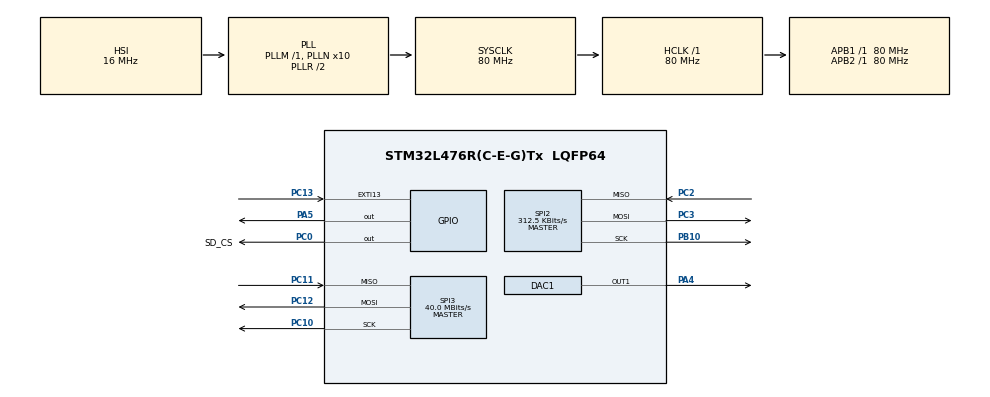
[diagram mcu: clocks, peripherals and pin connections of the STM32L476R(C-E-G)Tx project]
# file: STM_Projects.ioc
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DAC1.DAC_Trigger-DAC_OUT1=DAC_TRIGGER_T6_TRGO
Dma.DAC_CH1.0.Direction=DMA_MEMORY_TO_PERIPH
Dma.DAC_CH1.0.Instance=DMA1_Channel3
Dma.DAC_CH1.0.MemDataAlignment=DMA_MDATAALIGN_HALFWORD
Dma.DAC_CH1.0.MemInc=DMA_MINC_ENABLE
Dma.DAC_CH1.0.Mode=DMA_CIRCULAR
Dma.DAC_CH1.0.PeriphDataAlignment=DMA_PDATAALIGN_HALFWORD
Dma.DAC_CH1.0.PeriphInc=DMA_PINC_DISABLE
Dma.DAC_CH1.0.Priority=DMA_PRIORITY_HIGH
Dma.Request0=DAC_CH1
Mcu.Family=STM32L4
Mcu.Name=STM32L476R(C-E-G)Tx
Mcu.Package=LQFP64
NUCLEO-L476RG.BUTTON=1
NUCLEO-L476RG.Bsp_Common_DEMO=true
NUCLEO-L476RG.LD2=true
NVIC.DMA1_Channel3_IRQn=true\:0\:0\:false\:false\:true\:false\:true\:true
NVIC.EXTI15_10_IRQn=true\:0\:0\:false\:false\:true\:false\:true\:true
NVIC.PriorityGroup=NVIC_PRIORITYGROUP_4
NVIC.TIM6_DAC_IRQn=true\:15\:0\:false\:false\:true\:false\:true\:true
PA13\ (JTMS-SWDIO).GPIO_Label=TMS
PA13\ (JTMS-SWDIO).Mode=Trace_Asynchronous_SW
PA13\ (JTMS-SWDIO).Signal=SYS_JTMS-SWDIO
PA14\ (JTCK-SWCLK).GPIO_Label=TCK
PA14\ (JTCK-SWCLK).Mode=Trace_Asynchronous_SW
PA14\ (JTCK-SWCLK).Signal=SYS_JTCK-SWCLK
PA2.GPIO_Label=USART_TX
PA2.GPIO_Mode=GPIO_MODE_AF_PP
PA2.GPIO_PuPd=GPIO_NOPULL
PA2.GPIO_Speed=GPIO_SPEED_FREQ_VERY_HIGH
PA2.Signal=USART2_TX
PA3.GPIO_Label=USART_RX
PA3.GPIO_Mode=GPIO_MODE_AF_PP
PA3.GPIO_PuPd=GPIO_NOPULL
PA3.GPIO_Speed=GPIO_SPEED_FREQ_VERY_HIGH
PA3.Signal=USART2_RX
PA4.Signal=COMP_DAC11_group
PA5.Signal=GPIO_Output
PB10.Mode=Full_Duplex_Master
PB10.Signal=SPI2_SCK
PB3\ (JTDO-TRACESWO).GPIO_Label=SWO
PB3\ (JTDO-TRACESWO).Mode=Trace_Asynchronous_SW
PB3\ (JTDO-TRACESWO).Signal=SYS_JTDO-SWO
PC0.GPIO_Label=SD_CS
PC0.PinState=GPIO_PIN_SET
PC0.Signal=GPIO_Output
PC10.Mode=Full_Duplex_Master
PC10.Signal=SPI3_SCK
PC11.Mode=Full_Duplex_Master
PC11.Signal=SPI3_MISO
PC12.Mode=Full_Duplex_Master
PC12.Signal=SPI3_MOSI
PC13.Signal=GPXTI13
PC14-OSC32_IN\ (PC14).Signal=RCC_OSC32_IN
PC15-OSC32_OUT\ (PC15).Signal=RCC_OSC32_OUT
PC2.Mode=Full_Duplex_Master
PC2.Signal=SPI2_MISO
PC3.Mode=Full_Duplex_Master
PC3.Signal=SPI2_MOSI
PH0-OSC_IN\ (PH0).Signal=RCC_OSC_IN
PH1-OSC_OUT\ (PH1).Signal=RCC_OSC_OUT
ProjectManager.HeapSize=0x200
ProjectManager.StackSize=0x400
ProjectManager.TargetToolchain=STM32CubeIDE
RCC.ADCFreq_Value=64000000
RCC.AHBFreq_Value=80000000
RCC.APB1Freq_Value=80000000
RCC.APB1TimFreq_Value=80000000
RCC.APB2Freq_Value=80000000
RCC.APB2TimFreq_Value=80000000
RCC.CortexFreq_Value=80000000
RCC.HCLKFreq_Value=80000000
RCC.HSE_VALUE=8000000
RCC.HSI_VALUE=16000000
RCC.LSE_VALUE=32768
RCC.MSI_VALUE=4000000
RCC.PLLN=10
RCC.PLLSourceVirtual=RCC_PLLSOURCE_HSI
RCC.PREFETCH_ENABLE=1
RCC.SYSCLKFreq_VALUE=80000000
RCC.SYSCLKSource=RCC_SYSCLKSOURCE_PLLCLK
RCC.USBFreq_Value=64000000
RCC.VCOOutputFreq_Value=160000000
SH.COMP_DAC11_group.0=DAC1_OUT1,DAC_OUT1
SPI2.BaudRatePrescaler=SPI_BAUDRATEPRESCALER_256
SPI2.CalculateBaudRate=312.5 KBits/s
SPI2.DataSize=SPI_DATASIZE_8BIT
SPI2.Direction=SPI_DIRECTION_2LINES
SPI2.Mode=SPI_MODE_MASTER
SPI2.NSSPMode=SPI_NSS_PULSE_DISABLE
SPI2.VirtualType=VM_MASTER
SPI3.CalculateBaudRate=40.0 MBits/s
SPI3.Direction=SPI_DIRECTION_2LINES
SPI3.Mode=SPI_MODE_MASTER
SPI3.VirtualType=VM_MASTER
TIM6.Period=1813
TIM6.TIM_MasterOutputTrigger=TIM_TRGO_UPDATE
VP_FATFS_VS_Generic.Mode=User_defined
VP_NUCLEO-L476RG_VS_BSP_COMMON.Mode=COMMON
VP_TIM6_VS_ClockSourceINT.Mode=Enable_Timer
board=NUCLEO-L476RG

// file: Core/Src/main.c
/* USER CODE BEGIN Header */
/**
  ******************************************************************************
  * @file           : main.c
  * @brief          : Main program body
  ******************************************************************************
  * @attention
  *
  * Copyright (c) 2026 STMicroelectronics.
  * All rights reserved.
  *
  * This software is licensed under terms that can be found in the LICENSE file
  * in the root directory of this software component.
  * If no LICENSE file comes with this software, it is provided AS-IS.
  *
  ******************************************************************************
  */
/* USER CODE END Header */
#include "main.h"
#include "fatfs.h"
#include "user_diskio.h"
#include <string.h>

/* USER CODE BEGIN Includes */
volatile DSTATUS sd_status;
/* USER CODE END Includes */

/* Button state */
#define BUTTON_RELEASED                    0U
#define BUTTON_PRESSED                     1U
/* USER CODE BEGIN PM */
#define AUDIO_READ_SIZE 4096
#define DAC_BUFFER_SIZE 1024

/* USER CODE END PM */

__IO uint32_t BspButtonState = BUTTON_RELEASED;
DAC_HandleTypeDef hdac1;
DMA_HandleTypeDef hdma_dac_ch1;

SPI_HandleTypeDef hspi2;
SPI_HandleTypeDef hspi3;

TIM_HandleTypeDef htim6;

void SystemClock_Config(void);
static void MX_GPIO_Init(void);
static void MX_DMA_Init(void);
static void MX_DAC1_Init(void);
static void MX_SPI2_Init(void);
static void MX_SPI3_Init(void);
static void MX_TIM6_Init(void);

/* USER CODE BEGIN 0 */
/*
static uint16_t read_u16_le(const BYTE *p)
{
    return (uint16_t)p[0] |
           ((uint16_t)p[1] << 8);
}

static uint32_t read_u32_le(const BYTE *p)
{
    return (uint32_t)p[0] |
           ((uint32_t)p[1] << 8) |
           ((uint32_t)p[2] << 16) |
           ((uint32_t)p[3] << 24);
}
*/

static void ITM_SendString(const char *str)
{
    while (*str)
    {
        ITM_SendChar(*str++);
    }
}

static void ITM_SendUint32(uint32_t value)
{
    char digits[10];
    int i = 0;

    if (value == 0)
    {
        ITM_SendChar('0');
        return;
    }

    while (value > 0)
    {
        digits[i++] = '0' + (value % 10);
        value /= 10;
    }

    while (i > 0)
    {
        ITM_SendChar(digits[--i]);
    }
}

static void SD_SetFastSPI(void)
{
    HAL_SPI_DeInit(&hspi2);

    hspi2.Init.BaudRatePrescaler = SPI_BAUDRATEPRESCALER_8;

    if (HAL_SPI_Init(&hspi2) != HAL_OK)
    {
        Error_Handler();
    }
}

typedef struct
{
    uint16_t audio_format;
    uint16_t num_channels;
    uint32_t sample_rate;
    uint32_t byte_rate;
    uint16_t block_align;
    uint16_t bits_per_sample;
    uint32_t data_size;
    uint32_t data_offset;
} WAV_Info;

static FRESULT WAV_ParseHeader(FIL *file, WAV_Info *wav)
{
    uint8_t header[44];
    UINT bytes_read;

    FRESULT result;

    result = f_read(file, header, sizeof(header), &bytes_read);

    if (result != FR_OK)
    {
        return result;
    }

    if (bytes_read != sizeof(header))
    {
        return FR_INT_ERR;
    }

    if (memcmp(&header[0], "RIFF", 4) != 0)
    {
        return FR_INT_ERR;
    }

    if (memcmp(&header[8], "WAVE", 4) != 0)
    {
        return FR_INT_ERR;
    }

    if (memcmp(&header[12], "fmt ", 4) != 0)
    {
        return FR_INT_ERR;
    }

    if (memcmp(&header[36], "data", 4) != 0)
    {
        return FR_INT_ERR;
    }

    wav->audio_format =
        header[20] |
        (header[21] << 8);

    wav->num_channels =
        header[22] |
        (header[23] << 8);

    wav->sample_rate =
        header[24] |
        (header[25] << 8) |
        (header[26] << 16) |
        (header[27] << 24);

    wav->byte_rate =
        header[28] |
        (header[29] << 8) |
        (header[30] << 16) |
        (header[31] << 24);

    wav->block_align =
        header[32] |
        (header[33] << 8);

    wav->bits_per_sample =
        header[34] |
        (header[35] << 8);

    wav->data_size =
        header[40] |
        (header[41] << 8) |
        (header[42] << 16) |
        (header[43] << 24);

    wav->data_offset = 44;

    return FR_OK;
}

uint8_t audio_read_buffer[AUDIO_READ_SIZE];
uint16_t dac_buffer[DAC_BUFFER_SIZE];

static uint32_t PCM_To_DAC(
    const uint8_t *pcm,
    uint32_t pcm_bytes,
    uint16_t *dac_buffer)
{
    uint32_t num_frames = pcm_bytes / 4;

    for (uint32_t i = 0; i < num_frames; i++)
    {
        int16_t left =
            (int16_t)(
                pcm[i * 4] |
                (pcm[i * 4 + 1] << 8)
            );

        dac_buffer[i] =
            ((int32_t)left + 32768) >> 4;
    }

    return num_frames;
}
/* USER CODE END 0 */

int main(void)
{

  /* MCU Configuration--------------------------------------------------------*/

  /* Reset of all peripherals, Initializes the Flash interface and the Systick. */
  HAL_Init();

  /* Configure the system clock */
  SystemClock_Config();

  /* Initialize all configured peripherals */
  MX_GPIO_Init();
  MX_DMA_Init();
  MX_DAC1_Init();
  MX_SPI2_Init();
  MX_SPI3_Init();
  MX_FATFS_Init();
  MX_TIM6_Init();
  /* USER CODE BEGIN 2 */

  sd_status = USER_initialize(0);

  if (sd_status == 0)
  {
      SD_SetFastSPI();
  }

  ITM_SendString("SD stage: ");
  ITM_SendUint32(sd_debug_stage);
  ITM_SendString(" response: ");
  ITM_SendUint32(sd_debug_response);
  ITM_SendChar('\n');

  ITM_SendChar('S');
  ITM_SendChar('D');
  ITM_SendChar(':');
  ITM_SendChar(' ');

  const char hex[] = "0123456789ABCDEF";

  ITM_SendChar(hex[(sd_status >> 4) & 0x0F]);
  ITM_SendChar(hex[sd_status & 0x0F]);

  ITM_SendChar('\r');
  ITM_SendChar('\n');

  FRESULT result;

  result = f_mount(&USERFatFS, USERPath, 1);

  ITM_SendChar('M');
  ITM_SendChar('O');
  ITM_SendChar('U');
  ITM_SendChar('N');
  ITM_SendChar('T');
  ITM_SendChar(':');
  ITM_SendChar(' ');

  ITM_SendChar(hex[(result >> 4) & 0x0F]);
  ITM_SendChar(hex[result & 0x0F]);

  ITM_SendChar('\r');
  ITM_SendChar('\n');

  BYTE buffer[512];
  DRESULT read_result;

  read_result = USER_read(0, buffer, 0, 1);

  ITM_SendChar('R');
  ITM_SendChar('E');
  ITM_SendChar('A');
  ITM_SendChar('D');
  ITM_SendChar(':');
  ITM_SendChar(' ');

  ITM_SendChar(hex[(read_result >> 4) & 0x0F]);
  ITM_SendChar(hex[read_result & 0x0F]);

  ITM_SendChar('\r');
  ITM_SendChar('\n');

  ITM_SendChar('S');
  ITM_SendChar('0');
  ITM_SendChar(':');
  ITM_SendChar(' ');

  for (int i = 0; i < 16; i++)
  {
      ITM_SendChar(hex[(buffer[i] >> 4) & 0x0F]);
      ITM_SendChar(hex[buffer[i] & 0x0F]);
      ITM_SendChar(' ');
  }

  ITM_SendChar('\r');
  ITM_SendChar('\n');

  ITM_SendChar('5');
  ITM_SendChar('1');
  ITM_SendChar('0');
  ITM_SendChar(':');
  ITM_SendChar(' ');

  ITM_SendChar(hex[(buffer[510] >> 4) & 0x0F]);
  ITM_SendChar(hex[buffer[510] & 0x0F]);
  ITM_SendChar(' ');

  ITM_SendChar(hex[(buffer[511] >> 4) & 0x0F]);
  ITM_SendChar(hex[buffer[511] & 0x0F]);

  ITM_SendChar('\r');
  ITM_SendChar('\n');

  ITM_SendChar('P');
  ITM_SendChar('1');
  ITM_SendChar(':');
  ITM_SendChar(' ');

  for (int i = 446; i < 462; i++)
  {
      ITM_SendChar(hex[(buffer[i] >> 4) & 0x0F]);
      ITM_SendChar(hex[buffer[i] & 0x0F]);
      ITM_SendChar(' ');
  }

  ITM_SendChar('\r');
  ITM_SendChar('\n');

  FIL file;
  UINT bytes_read2;

  result = f_open(&file, "0:/test.txt", FA_READ);

  if (result == FR_OK)
  {
      result = f_read(&file, (void *)buffer, sizeof(buffer) - 1, &bytes_read2);

      if (result == FR_OK)
      {
          buffer[bytes_read2] = '\0';

          for (UINT i = 0; i < bytes_read2; i++)
          {
              ITM_SendChar(buffer[i]);
          }

          ITM_SendChar('\r');
          ITM_SendChar('\n');
      }

      f_close(&file);
  }

  DIR dir;
  FILINFO fno;

  FRESULT dir_result;

  ITM_SendString("\r\n--- SD FILES ---\r\n");

  dir_result = f_opendir(&dir, "0:/");

  if (dir_result == FR_OK)
  {
      while (1)
      {
          dir_result = f_readdir(&dir, &fno);

          if (dir_result != FR_OK || fno.fname[0] == 0)
          {
              break;
          }

          ITM_SendString(fno.fname);
          ITM_SendString("\r\n");
      }

      f_closedir(&dir);
  }
  else
  {
      ITM_SendString("Failed to open directory\r\n");
  }

  FIL wav_file;
  ITM_SendString("\r\nOpening WAV...\r\n");

  WAV_Info wav;

  result = f_open(&wav_file, "0:/BASS1.WAV", FA_READ);

  if (result == FR_OK)
  {
      ITM_SendString("WAV opened\n");

      result = WAV_ParseHeader(&wav_file, &wav);

      if (result == FR_OK)
      {
          ITM_SendString("WAV header parsed\n");

          ITM_SendString("Sample rate: ");
          ITM_SendUint32(wav.sample_rate);
          ITM_SendString("\n");

          ITM_SendString("Channels: ");
          ITM_SendUint32(wav.num_channels);
          ITM_SendString("\n");

          ITM_SendString("Bits/sample: ");
          ITM_SendUint32(wav.bits_per_sample);
          ITM_SendString("\n");

          ITM_SendString("Data size: ");
          ITM_SendUint32(wav.data_size);
          ITM_SendString("\n");
      }
  }

  UINT bytes_read;

  result = f_read(
      &wav_file,
      audio_read_buffer,
      AUDIO_READ_SIZE,
      &bytes_read
  );
  ITM_SendString("Read bytes: ");
  ITM_SendUint32(bytes_read);
  ITM_SendString("\n");

  uint32_t dac_samples = PCM_To_DAC(
	  audio_read_buffer,
      bytes_read,
      dac_buffer
  );

  ITM_SendString("DAC samples: ");
  ITM_SendUint32(dac_samples);
  ITM_SendChar('\n');

  HAL_DAC_Start_DMA(
      &hdac1,
      DAC_CHANNEL_1,
      (uint32_t *)dac_buffer,
      DAC_BUFFER_SIZE,
      DAC_ALIGN_12B_R
  );

  HAL_TIM_Base_Start(&htim6);

  result = f_open(&wav_file, "0:/BASS1.WAV", FA_READ);

  if (result == FR_OK)
  {
      ITM_SendString("WAV opened\n");

      f_lseek(&wav_file, 44 + 20000);

      UINT bytes_read;

      result = f_read(
          &wav_file,
          audio_read_buffer,
          AUDIO_READ_SIZE,
          &bytes_read
      );

      if (result == FR_OK)
      {
          uint32_t dac_samples = PCM_To_DAC(
              audio_read_buffer,
              bytes_read,
              dac_buffer
          );

          ITM_SendString("DAC samples: ");
          ITM_SendUint32(dac_samples);
          ITM_SendChar('\n');

          HAL_DAC_Start_DMA(
              &hdac1,
              DAC_CHANNEL_1,
              (uint32_t *)dac_buffer,
              dac_samples,
              DAC_ALIGN_12B_R
          );

          HAL_TIM_Base_Start(&htim6);
      }
  }
  /*
  ITM_SendString("First 128 PCM bytes:\n");

  for (int i = 0; i < 128; i++)
  {
      ITM_SendUint32(audio_read_buffer[i]);
      ITM_SendChar(' ');
  }

  ITM_SendChar('\n');

  uint32_t total_read = 0;
  uint32_t nonzero_bytes = 0;

  while (total_read < wav.data_size)
  {
      uint32_t remaining = wav.data_size - total_read;

      UINT bytes_to_read =
          (remaining < AUDIO_READ_SIZE)
          ? remaining
          : AUDIO_READ_SIZE;

      UINT bytes_read = 0;

      FRESULT result = f_read(
          &wav_file,
          audio_read_buffer,
          bytes_to_read,
          &bytes_read
      );

      if (result != FR_OK)
      {
          ITM_SendString("WAV read error\n");
          break;
      }

      if (bytes_read == 0)
      {
          break;
      }

      for (UINT i = 0; i < bytes_read; i++)
      {
          if (audio_read_buffer[i] != 0)
          {
              nonzero_bytes++;
          }
      }

      total_read += bytes_read;
  }

  ITM_SendString("Total PCM bytes read: ");
  ITM_SendUint32(total_read);
  ITM_SendString("\n");

  ITM_SendString("Nonzero bytes: ");
  ITM_SendUint32(nonzero_bytes);
  ITM_SendString("\n");
  */

  /* USER CODE END 2 */

  /* Initialize leds */
  BSP_LED_Init(LED_GREEN);

  /* Initialize USER push-button, will be used to trigger an interrupt each time it's pressed.*/
  BSP_PB_Init(BUTTON_USER, BUTTON_MODE_EXTI);

  /* USER CODE BEGIN BSP */

  /* -- Sample board code to switch on leds ---- */
  BSP_LED_On(LED_GREEN);

  /* USER CODE END BSP */

  /* Infinite loop */
  /* USER CODE BEGIN WHILE */
  while (1)
  {

    /* -- Sample board code for User push-button in interrupt mode ---- */
    if (BspButtonState == BUTTON_PRESSED)
    {
      ITM_SendChar('P');
      /* Update button state */
      BspButtonState = BUTTON_RELEASED;
      /* -- Sample board code to toggle leds ---- */
      BSP_LED_Toggle(LED_GREEN);
      /* ..... Perform your action ..... */
    }
    /* USER CODE END WHILE */

  }
}

void SystemClock_Config(void)
{
  RCC_OscInitTypeDef RCC_OscInitStruct = {0};
  RCC_ClkInitTypeDef RCC_ClkInitStruct = {0};

  /** Configure the main internal regulator output voltage
  */
  if (HAL_PWREx_ControlVoltageScaling(PWR_REGULATOR_VOLTAGE_SCALE1) != HAL_OK)
  {
    Error_Handler();
  }

  /** Initializes the RCC Oscillators according to the specified parameters
  * in the RCC_OscInitTypeDef structure.
  */
  RCC_OscInitStruct.OscillatorType = RCC_OSCILLATORTYPE_HSI;
  RCC_OscInitStruct.HSIState = RCC_HSI_ON;
  RCC_OscInitStruct.HSICalibrationValue = RCC_HSICALIBRATION_DEFAULT;
  RCC_OscInitStruct.PLL.PLLState = RCC_PLL_ON;
  RCC_OscInitStruct.PLL.PLLSource = RCC_PLLSOURCE_HSI;
  RCC_OscInitStruct.PLL.PLLM = 1;
  RCC_OscInitStruct.PLL.PLLN = 10;
  RCC_OscInitStruct.PLL.PLLP = RCC_PLLP_DIV7;
  RCC_OscInitStruct.PLL.PLLQ = RCC_PLLQ_DIV2;
  RCC_OscInitStruct.PLL.PLLR = RCC_PLLR_DIV2;
  if (HAL_RCC_OscConfig(&RCC_OscInitStruct) != HAL_OK)
  {
    Error_Handler();
  }

  /** Initializes the CPU, AHB and APB buses clocks
  */
  RCC_ClkInitStruct.ClockType = RCC_CLOCKTYPE_HCLK|RCC_CLOCKTYPE_SYSCLK
                              |RCC_CLOCKTYPE_PCLK1|RCC_CLOCKTYPE_PCLK2;
  RCC_ClkInitStruct.SYSCLKSource = RCC_SYSCLKSOURCE_PLLCLK;
  RCC_ClkInitStruct.AHBCLKDivider = RCC_SYSCLK_DIV1;
  RCC_ClkInitStruct.APB1CLKDivider = RCC_HCLK_DIV1;
  RCC_ClkInitStruct.APB2CLKDivider = RCC_HCLK_DIV1;

  if (HAL_RCC_ClockConfig(&RCC_ClkInitStruct, FLASH_LATENCY_4) != HAL_OK)
  {
    Error_Handler();
  }
}

static void MX_DAC1_Init(void)
{

  DAC_ChannelConfTypeDef sConfig = {0};

  /** DAC Initialization
  */
  hdac1.Instance = DAC1;
  if (HAL_DAC_Init(&hdac1) != HAL_OK)
  {
    Error_Handler();
  }

  /** DAC channel OUT1 config
  */
  sConfig.DAC_SampleAndHold = DAC_SAMPLEANDHOLD_DISABLE;
  sConfig.DAC_Trigger = DAC_TRIGGER_T6_TRGO;
  sConfig.DAC_OutputBuffer = DAC_OUTPUTBUFFER_ENABLE;
  sConfig.DAC_ConnectOnChipPeripheral = DAC_CHIPCONNECT_DISABLE;
  sConfig.DAC_UserTrimming = DAC_TRIMMING_FACTORY;
  if (HAL_DAC_ConfigChannel(&hdac1, &sConfig, DAC_CHANNEL_1) != HAL_OK)
  {
    Error_Handler();
  }

}

static void MX_SPI2_Init(void)
{

  /* SPI2 parameter configuration*/
  hspi2.Instance = SPI2;
  hspi2.Init.Mode = SPI_MODE_MASTER;
  hspi2.Init.Direction = SPI_DIRECTION_2LINES;
  hspi2.Init.DataSize = SPI_DATASIZE_8BIT;
  hspi2.Init.CLKPolarity = SPI_POLARITY_LOW;
  hspi2.Init.CLKPhase = SPI_PHASE_1EDGE;
  hspi2.Init.NSS = SPI_NSS_SOFT;
  hspi2.Init.BaudRatePrescaler = SPI_BAUDRATEPRESCALER_256;
  hspi2.Init.FirstBit = SPI_FIRSTBIT_MSB;
  hspi2.Init.TIMode = SPI_TIMODE_DISABLE;
  hspi2.Init.CRCCalculation = SPI_CRCCALCULATION_DISABLE;
  hspi2.Init.CRCPolynomial = 7;
  hspi2.Init.CRCLength = SPI_CRC_LENGTH_DATASIZE;
  hspi2.Init.NSSPMode = SPI_NSS_PULSE_DISABLE;
  if (HAL_SPI_Init(&hspi2) != HAL_OK)
  {
    Error_Handler();
  }

}

static void MX_SPI3_Init(void)
{

  /* SPI3 parameter configuration*/
  hspi3.Instance = SPI3;
  hspi3.Init.Mode = SPI_MODE_MASTER;
  hspi3.Init.Direction = SPI_DIRECTION_2LINES;
  hspi3.Init.DataSize = SPI_DATASIZE_4BIT;
  hspi3.Init.CLKPolarity = SPI_POLARITY_LOW;
  hspi3.Init.CLKPhase = SPI_PHASE_1EDGE;
  hspi3.Init.NSS = SPI_NSS_SOFT;
  hspi3.Init.BaudRatePrescaler = SPI_BAUDRATEPRESCALER_2;
  hspi3.Init.FirstBit = SPI_FIRSTBIT_MSB;
  hspi3.Init.TIMode = SPI_TIMODE_DISABLE;
  hspi3.Init.CRCCalculation = SPI_CRCCALCULATION_DISABLE;
  hspi3.Init.CRCPolynomial = 7;
  hspi3.Init.CRCLength = SPI_CRC_LENGTH_DATASIZE;
  hspi3.Init.NSSPMode = SPI_NSS_PULSE_ENABLE;
  if (HAL_SPI_Init(&hspi3) != HAL_OK)
  {
    Error_Handler();
  }

}

static void MX_TIM6_Init(void)
{

  TIM_MasterConfigTypeDef sMasterConfig = {0};

  htim6.Instance = TIM6;
  htim6.Init.Prescaler = 0;
  htim6.Init.CounterMode = TIM_COUNTERMODE_UP;
  htim6.Init.Period = 1813;
  htim6.Init.AutoReloadPreload = TIM_AUTORELOAD_PRELOAD_DISABLE;
  if (HAL_TIM_Base_Init(&htim6) != HAL_OK)
  {
    Error_Handler();
  }
  sMasterConfig.MasterOutputTrigger = TIM_TRGO_UPDATE;
  sMasterConfig.MasterSlaveMode = TIM_MASTERSLAVEMODE_DISABLE;
  if (HAL_TIMEx_MasterConfigSynchronization(&htim6, &sMasterConfig) != HAL_OK)
  {
    Error_Handler();
  }

}

static void MX_DMA_Init(void)
{

  /* DMA controller clock enable */
  __HAL_RCC_DMA1_CLK_ENABLE();

  /* DMA interrupt init */
  /* DMA1_Channel3_IRQn interrupt configuration */
  HAL_NVIC_SetPriority(DMA1_Channel3_IRQn, 0, 0);
  HAL_NVIC_EnableIRQ(DMA1_Channel3_IRQn);

}

static void MX_GPIO_Init(void)
{
  GPIO_InitTypeDef GPIO_InitStruct = {0};

  /* GPIO Ports Clock Enable */
  __HAL_RCC_GPIOC_CLK_ENABLE();
  __HAL_RCC_GPIOH_CLK_ENABLE();
  __HAL_RCC_GPIOA_CLK_ENABLE();
  __HAL_RCC_GPIOB_CLK_ENABLE();

  /*Configure GPIO pin Output Level */
  HAL_GPIO_WritePin(SD_CS_GPIO_Port, SD_CS_Pin, GPIO_PIN_SET);

  /*Configure GPIO pin : SD_CS_Pin */
  GPIO_InitStruct.Pin = SD_CS_Pin;
  GPIO_InitStruct.Mode = GPIO_MODE_OUTPUT_PP;
  GPIO_InitStruct.Pull = GPIO_NOPULL;
  GPIO_InitStruct.Speed = GPIO_SPEED_FREQ_LOW;
  HAL_GPIO_Init(SD_CS_GPIO_Port, &GPIO_InitStruct);

  /*Configure GPIO pins : USART_TX_Pin USART_RX_Pin */
  GPIO_InitStruct.Pin = USART_TX_Pin|USART_RX_Pin;
  GPIO_InitStruct.Mode = GPIO_MODE_AF_PP;
  GPIO_InitStruct.Pull = GPIO_NOPULL;
  GPIO_InitStruct.Speed = GPIO_SPEED_FREQ_VERY_HIGH;
  GPIO_InitStruct.Alternate = GPIO_AF7_USART2;
  HAL_GPIO_Init(GPIOA, &GPIO_InitStruct);

}

/**
  * @brief EXTI line detection callbacks
  * @param GPIO_Pin: Specifies the pins connected EXTI line
  * @retval None
  */
void HAL_GPIO_EXTI_Callback(uint16_t GPIO_Pin)
{
  if(GPIO_Pin==USER_BUTTON_PIN)
  {
    BspButtonState = BUTTON_PRESSED;
  }
}

void Error_Handler(void)
{
  __disable_irq();
  while (1)
  {
  }
}
